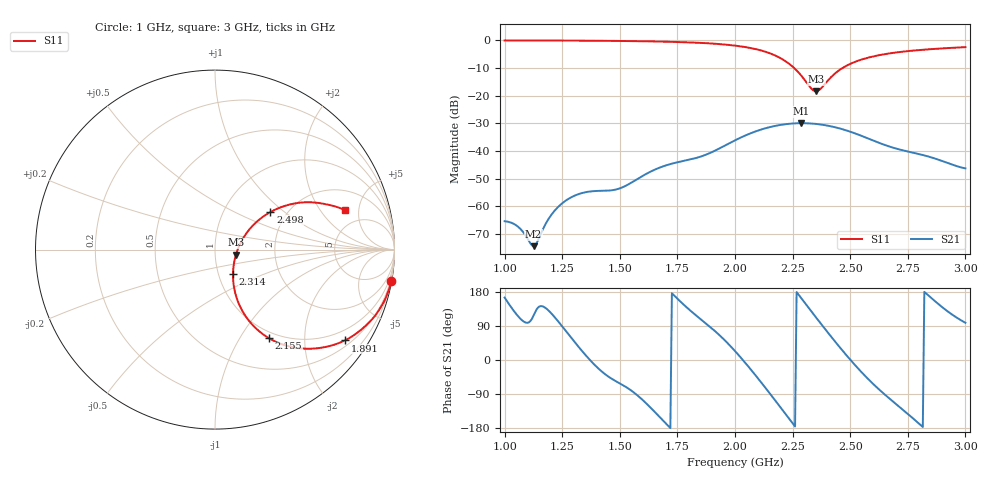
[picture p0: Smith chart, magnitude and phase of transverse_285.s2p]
! TOUCHSTONE file generated by CST MICROWAVE STUDIO
! Date and time: Tue Mar 11 13:58:26 2025
! Project name: transverse.cst
! Parameters = {Fracture=1; B=12.5; D=160; F=25; Feed=2.85625; L=100; M=30; R=0.384908; S=1; Theta=270; length=57.125; wave=114.25}
! Header version: 2024
! Port assignment regex: !\s*Touchstone port\s*([0-9]+)\s*=\s*(CST MWS port|CST DES external port|CST DES block port)\s*(.+)\s* \(\"(.*)\"\)(\s*mode\s*([0-9]+))?.*
! Touchstone port assignment:
! Touchstone port 1 = CST MWS port 1 ("")
! Touchstone port 2 = CST MWS port 2 ("")
# GHz S MA R 50
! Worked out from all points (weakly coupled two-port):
!   304 points, 1 GHz to 3 GHz, reference 50 ohm
!   highest |S21| = -29.91 dB at 2.287 GHz (marker M1); lowest = -74.4 dB at 1.125 GHz (marker M2)
!   lowest |S11| = -18.4 dB at 2.353 GHz (marker M3), VSWR 1.27, Z = 63.1 - j3.68 ohm
!   |S11| at or under -10 dB: 2.257 GHz to 2.466 GHz (209.4 MHz wide, 8.86 % of centre)
!   S12 and S22 are empty: the file has one direction only
!   S11 on the Smith chart (normalised r, x): 1 GHz: 0, -11; 1.891 GHz: 0.66, -3.04; 2.155 GHz: 0.91, -1.34; 2.314 GHz: 1.17, -0.32; 2.498 GHz: 1.65, +0.80; 3 GHz: 3.41, +3.51
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1  0.9975 -10.0  0.0005412 164.7  0 0.0  0 0.0
1.05941  0.997 -10.8  0.0004261 114.9  0 0.0  0 0.0
1.12541  0.9961 -11.8  0.0001915 117.1  0 0.0  0 0.0
1.13861  0.9958 -12.1  0.0002164 133.4  0 0.0  0 0.0
1.18482  0.9945 -12.8  0.0005431 133.8  0 0.0  0 0.0
1.22442  0.9932 -13.5  0.0009067 107.9  0 0.0  0 0.0
1.27723  0.9914 -14.4  0.001372 67.9  0 0.0  0 0.0
1.33663  0.9891 -15.6  0.001749 23.4  0 0.0  0 0.0
1.49505  0.9778 -19.2  0.002087 -60.1  0 0.0  0 0.0
1.66667  0.9544 -24.5  0.004909 -146.4  0 0.0  0 0.0
1.89109  0.8828 -35.0  0.009226 87.8  0 0.0  0 0.0
2.0033  0.8011 -43.1  0.01589 21.4  0 0.0  0 0.0
2.15512  0.5769 -58.7  0.0274 -91.4  0 0.0  0 0.0
2.22772  0.3977 -65.5  0.03091 -149.1  0 0.0  0 0.0
2.28713  0.2328 -63.0  0.03194 163.5  0 0.0  0 0.0
2.31353  0.1675 -53.2  0.0318 142.5  0 0.0  0 0.0
2.33993  0.1251 -30.1  0.0313 121.6  0 0.0  0 0.0
2.35314  0.1201 -13.9  0.03092 111.2  0 0.0  0 0.0
2.43894  0.2623 33.1  0.02667 45.3  0 0.0  0 0.0
2.49835  0.3734 34.1  0.02254 2.2  0 0.0  0 0.0
2.66997  0.5819 27.0  0.01209 -101.5  0 0.0  0 0.0
3  0.7555 17.0  0.004869 98.2  0 0.0  0 0.0
